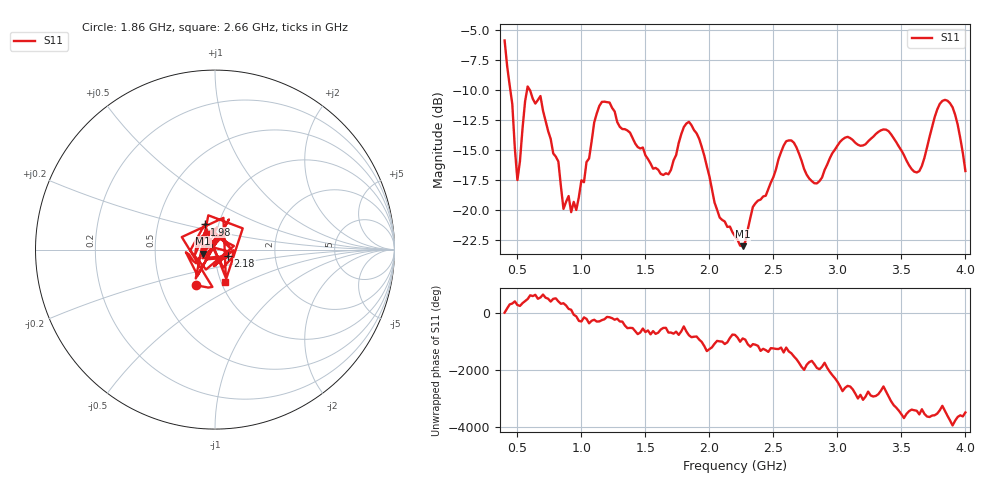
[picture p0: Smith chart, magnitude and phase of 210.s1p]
!Created with skrf (http://scikit-rf.org).
# Hz S RI R 50.0
!freq ReS11 ImS11
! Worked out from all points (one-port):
!   181 points, 400 MHz to 4 GHz, reference 50 ohm
!   lowest |S11| = -23.0 dB at 2.26 GHz (marker M1), VSWR 1.15, Z = 43.7 - j1.91 ohm
!   |S11| at or under -10 dB: 444.5 MHz to 575.4 MHz (130.9 MHz wide, 25.7 % of centre); 596.7 MHz to end of sweep
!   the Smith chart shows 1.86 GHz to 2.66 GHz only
!   S11 on the Smith chart (normalised r, x): 1.86 GHz: 0.75, -0.31; 1.98 GHz: 0.86, +0.25; 2.18 GHz: 1.15, -0.08; 2.66 GHz: 1.04, -0.39
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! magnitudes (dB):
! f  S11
! 400 MHz  -5.9
! 460 MHz  -11.2
! 500 MHz  -17.5
! 580 MHz  -9.7
! 680 MHz  -10.5
! 820 MHz  -16.0
! 860 MHz  -19.9
! 960 MHz  -20.0
! 1.16 GHz  -11.0
! 1.3 GHz  -13.1
! 1.64 GHz  -17.1
! 1.76 GHz  -14.4
! 1.86 GHz  -12.9
! 1.98 GHz  -16.4
! 2.08 GHz  -20.6
! 2.18 GHz  -21.9
! 2.2 GHz  -22.2
! 2.26 GHz  -23.0
! 2.34 GHz  -19.8
! 2.66 GHz  -14.4
! 2.84 GHz  -17.8
! 3.1 GHz  -14.0
! 3.38 GHz  -13.3
! 3.56 GHz  -16.3
! 3.64 GHz  -16.8
! 3.84 GHz  -10.8
! 3.92 GHz  -12.1
! 4 GHz  -16.8
